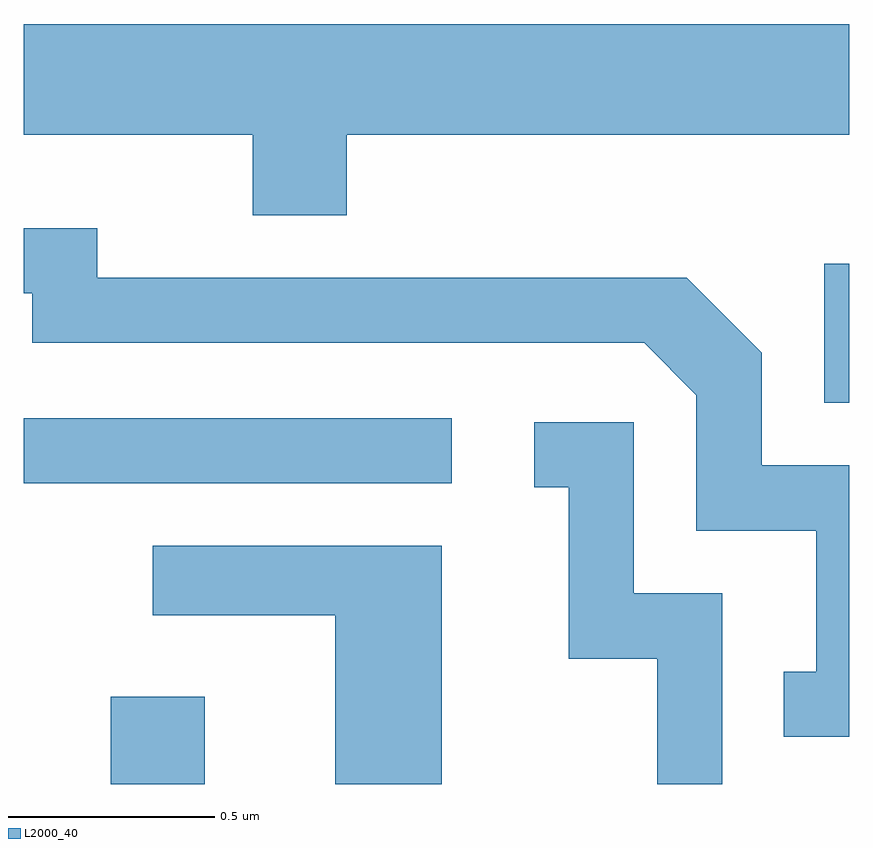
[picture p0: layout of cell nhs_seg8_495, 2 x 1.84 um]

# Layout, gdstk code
import gdstk
lib = gdstk.Library(unit=1e-6, precision=1e-09)
def R(c, l, rs):  # rectangles x0, y0, x1, y1
    for r in rs: c.add(gdstk.rectangle(r[:2], r[2:], *l))
def P(c, l, *ps):  # polygons
    for p in ps: c.add(gdstk.Polygon(p, *l))
L2000_40 = (2000, 40)

nhs_seg8_495 = lib.new_cell('nhs_seg8_495')
R(nhs_seg8_495, L2000_40, [(188.821,1890.342,189.049,1890.554), (188.611,1891.071,189.648,1891.229), (190.551,1891.266,190.611,1891.603)])
P(nhs_seg8_495, L2000_40, [(189.394,1891.916),(190.611,1891.916),(190.611,1892.184),(188.611,1892.184),(188.611,1891.916),(189.166,1891.916),(189.166,1891.721),(189.394,1891.721)],
  [(190.611,1891.114),(190.399,1891.114),(190.399,1891.387),(190.217,1891.569),(188.789,1891.569),(188.789,1891.689),(188.611,1891.689),(188.611,1891.531),(188.631,1891.531),(188.631,1891.411),(190.114,1891.411),(190.241,1891.284),(190.241,1890.956),(190.531,1890.956),(190.531,1890.614),(190.453,1890.614),(190.453,1890.456),(190.611,1890.456)],
  [(190.304,1890.804),(190.089,1890.804),(190.089,1891.219),(189.848,1891.219),(189.848,1891.061),(189.931,1891.061),(189.931,1890.646),(190.146,1890.646),(190.146,1890.342),(190.304,1890.342)],
  [(189.624,1890.919),(188.923,1890.919),(188.923,1890.751),(189.366,1890.751),(189.366,1890.342),(189.624,1890.342)])

lib.write_gds('nhs_seg8_495.gds')
